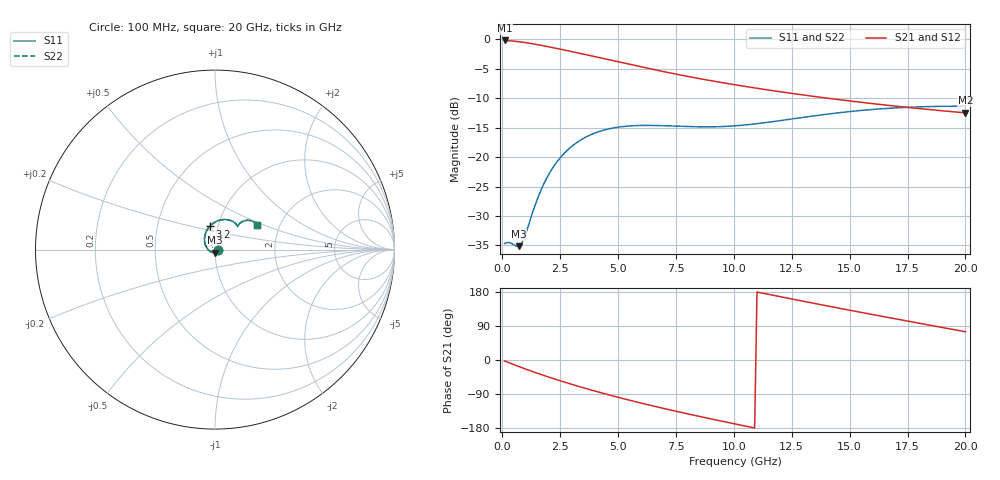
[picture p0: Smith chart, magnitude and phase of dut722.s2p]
! Touchstone file exported from HFSS 2024.1.0
!  File:  C:/UserFiles/LocalFiles/RDL_TSV_Batchsim/temp_RDL_TSV_722_1779890859.aedt
!  Generated:  10:23:11 PM May 27, 2026
!  Design:  RDL_TSV
!  Project:  temp_RDL_TSV_722_1779890859
!  Setup:  Setup1
!  Solution:  Sweep
! Variables:
!  dtsv = 12.36um
!  hbump = 3um
!  htsv = 88.69um
!  ldown = 694.83um
!  lrdl = 520.55um
!  p = 40
!  p1 = 46.46um
!  rhole = 10um
!  subl = 4166.69um
!  t = 450um
!  tdown = 2.97um
!  trdl = 3.91um
!  viad = 10um
!  wdown = 22.89um
!  wrdl = 26.58um
!  xbump = 18um
# GHz S MA R 50.000000
! Terminal data exported
! Port[1] = TM1_1_T1
! Port[2] = TM1_4_T1
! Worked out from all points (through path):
!   200 points, 100 MHz to 20 GHz, reference 50 ohm
!   highest |S21| = -0.17 dB at 100 MHz (marker M1); lowest = -12.5 dB at 20 GHz (marker M2)
!   group delay of S21, straight-line fit = 37.6 ps
!   lowest |S11| = -35.1 dB at 700 MHz (marker M3), VSWR 1.04, Z = 50.1 - j1.75 ohm
!   |S11| at or under -10 dB: start of sweep to end of sweep
!   |S22| runs from -35.1 to -11.3 dB; largest |S21 - S12| = 1.1e-14
!   S11 on the Smith chart (normalised r, x): 100 MHz: 1.04, -0.00; 3.2 GHz: 0.91, +0.24; 20 GHz: 1.53, +0.45
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0.1  0.01847 -6.8  0.9808 -2.5  0.9808 -2.5  0.01847 -6.8
! Gamma 0 0 0 0
! Port Impedance 50 0 50 0
0.3  0.01881 -26.0  0.9753 -7.5  0.9753 -7.5  0.01881 -26.0
0.7  0.01752 -84.4  0.9581 -16.9  0.9581 -16.9  0.01754 -84.2
0.9  0.01964 -119.3  0.9468 -21.5  0.9468 -21.5  0.01965 -119.1
1.5  0.04329 172.8  0.9053 -34.7  0.9053 -34.7  0.04316 172.9
1.7  0.05406 159.8  0.8901 -38.9  0.8901 -38.9  0.05388 159.9
2  0.07094 144.3  0.8667 -45.0  0.8667 -45.0  0.07069 144.4
2.5  0.09863 124.3  0.8276 -54.8  0.8276 -54.8  0.09826 124.4
3.2  0.1323 103.3  0.7736 -67.9  0.7736 -67.9  0.1318 103.3
3.5  0.1442 95.9  0.7511 -73.2  0.7511 -73.2  0.1436 95.9
4.2  0.1655 81.3  0.7002 -85.3  0.7002 -85.3  0.1648 81.3
5.1  0.1809 67.1  0.6393 -100.0  0.6393 -100.0  0.1799 67.1
5.9  0.1858 58.0  0.5902 -112.3  0.5902 -112.3  0.1848 58.0
6.8  0.1854 51.0  0.5412 -125.4  0.5412 -125.4  0.1843 51.0
8.3  0.1811 45.8  0.4733 -146.1  0.4733 -146.1  0.1799 45.9
10.1  0.1849 45.8  0.4103 -169.4  0.4103 -169.4  0.1839 46.1
11.8  0.2017 46.5  0.3642 169.5  0.3642 169.5  0.2009 46.8
13.4  0.2234 45.1  0.3292 150.2  0.3292 150.2  0.2227 45.4
15  0.2439 42.0  0.3003 131.4  0.3003 131.4  0.2433 42.2
16.7  0.2601 37.7  0.2749 111.8  0.2749 111.8  0.2596 37.9
18.3  0.2686 33.6  0.2552 93.7  0.2552 93.7  0.2682 33.8
20  0.2711 29.9  0.238 74.6  0.238 74.6  0.2708 30.1
